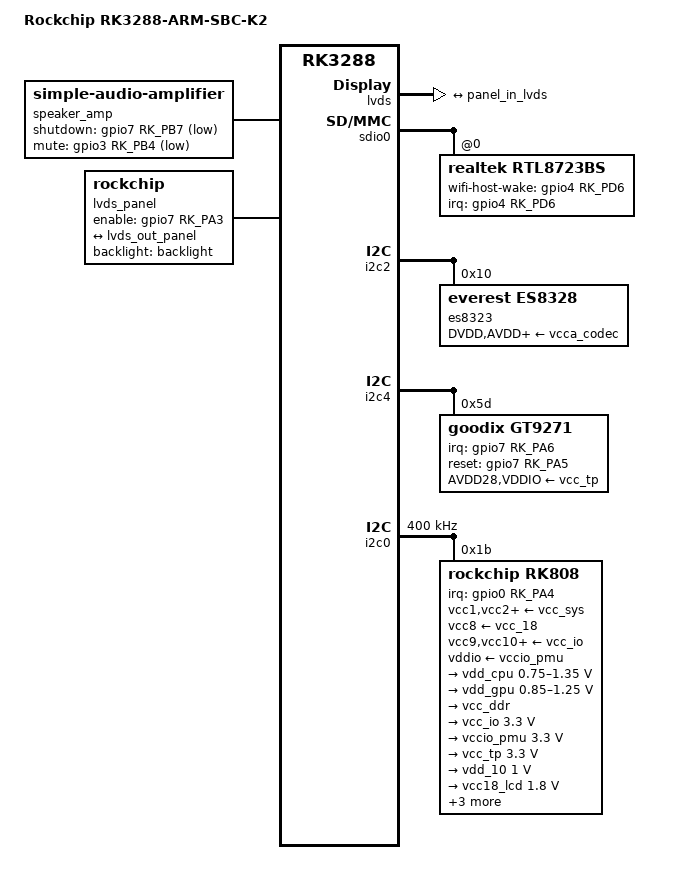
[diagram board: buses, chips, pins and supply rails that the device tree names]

// SPDX-License-Identifier: (GPL-2.0+ OR MIT)

/dts-v1/;
#include "rk3288-k2.dtsi"

/ {
	model = "Rockchip RK3288-ARM-SBC-K2";
	compatible = "rockchip,rk3288-evb-rk808", "rockchip,rk3288";

	sound  {
		compatible = "simple-audio-card";
		simple-audio-card,name = "rockchip,es8323-codec";
		simple-audio-card,format = "i2s";
		simple-audio-card,bitclock-master = <&dailink0_master>;
		simple-audio-card,frame-master = <&dailink0_master>;

		simple-audio-card,widgets =
			"Microphone", "Internal Mic",
			"Speaker", "Internal Speaker";

		simple-audio-card,routing =
			"Internal Speaker", "LOUT1",
			"Internal Speaker", "ROUT1",
			"Internal Mic", "LINPUT1",
			"Internal Mic", "RINPUT1";

		simple-audio-card,cpu {
			sound-dai = <&i2s>;
		};

		dailink0_master: simple-audio-card,codec {
			sound-dai = <&es8323>;
			clocks = <&es8323_clock>;
		};
	};

	speaker_amp: audio-amplifier {
                status = "okay";
                compatible = "simple-audio-amplifier";
                shutdown-gpios = <&gpio7 RK_PB7 GPIO_ACTIVE_LOW>;
                mute-gpios = <&gpio3 RK_PB4 GPIO_ACTIVE_LOW>;
                sound-name-prefix = "Speaker Amp";
        	};

	lvds_panel: lvds-panel {
		compatible ="rockchip","panel-lvds";
		backlight = <&backlight>;
		enable-gpios = <&gpio7 RK_PA3 GPIO_ACTIVE_HIGH>;
		pinctrl-0 = <&lcd_cs>;
		width-mm = <229>;
		height-mm = <149>;
		output = "lvds";
		data-mapping = "jeida-18";

			panel-timing {
                clock-frequency = <69000000>;
				hactive = <1280>;
				vactive = <800>;
				hsync-len = <11>;
				hfront-porch = <117>;
				hback-porch = <40>;
				vfront-porch = <9>;
				vback-porch = <6>;
				vsync-len = <1>;
                };

		ports {
			lvds_panel_in: port {
				panel_in_lvds: endpoint {
					remote-endpoint = <&lvds_out_panel>;
				};
			};
		};
	};
};

&lvds {
	status = "okay";

	ports {
		lvds_out: port@1 {
			reg = <1>;
			#address-cells = <1>;
			#size-cells = <0>;

			lvds_out_panel: endpoint@0 {
				reg = <0>;
				remote-endpoint = <&panel_in_lvds>;
			};
		};
	};
};

&cru {
    es8323_clock: es8323_clock {
        #clock-cells = <0>;
        compatible = "fixed-clock";
        clock-frequency = <11289600>; /* or <22579200> depending on your needs */
    };
};

&sdio0 {
    status = "okay";
    #address-cells = <1>;
    #size-cells = <0>;

    wifi_pwr_seq: wifi-pwrseq {
        compatible = "mmc-pwrseq-simple";
        reset-gpios = <&gpio4 RK_PD4 GPIO_ACTIVE_HIGH>;
    };

    rtl8723bs: rtl8723bs@0 {
        compatible = "realtek,rtl8723bs";
        reg = <0>; /* Adjusted to match parent's #address-cells and #size-cells */
        pinctrl-names = "default";
        pinctrl-0 = <&wifi_pwr_seq>;
        interrupt-parent = <&gpio4>;
        interrupts = <RK_PD6 GPIO_ACTIVE_HIGH>;
        wifi-host-wake-gpios = <&gpio4 RK_PD6 GPIO_ACTIVE_HIGH>;
        bluetooth {
            compatible = "realtek,rtl8723bs-bt";
            bt-wake-gpios = <&gpio4 RK_PD2 GPIO_ACTIVE_HIGH>;
            bt-host-wake-gpios = <&gpio4 RK_PD7 GPIO_ACTIVE_HIGH>;
            bt-rst-gpios = <&gpio4 RK_PD5 GPIO_ACTIVE_HIGH>;
        };
    };
};

&i2c2 {
	status = "okay";
	es8323: es8323@10 {
		compatible = "everest,es8328", "everest,es8323";
		#sound-dai-cells = <0>;
		DVDD-supply = <&vcca_codec>;
		AVDD-supply = <&vcca_codec>;
		PVDD-supply = <&vcca_codec>;
		HPVDD-supply = <&vcca_codec>;
		clocks = <&cru SCLK_I2S0_OUT>;
		reg = <0x10>;
        };
};


&i2c4 {
    status = "okay";
    /* use 0x1b for FT5506/CT363 and 0x40 for GSL3680, any other touch panel use i2cdtect to see the address */ 	
    gt9271@5d {
        compatible = "goodix,gt9271";
        reg = <0x5d>; /* I2C address of the touchscreen */
        interrupt-parent = <&gpio7>;
		AVDD28-supply = <&vcc_tp>;
		VDDIO-supply = <&vcc_tp>;
        interrupts = <RK_PA6 IRQ_TYPE_EDGE_FALLING>; /* INT pin */
        irq-gpios = <&gpio7 RK_PA6 GPIO_ACTIVE_HIGH>;
        reset-gpios = <&gpio7 RK_PA5 GPIO_ACTIVE_HIGH>; /* Reset pin */
        touchscreen-size-x = <1280>; /* X resolution, adjust as needed */
        touchscreen-size-y = <800>; /* Y resolution, adjust as needed */
        pinctrl-names = "default";

    };
};

&i2c0 {
	clock-frequency = <400000>;

	rk808: pmic@1b {
		compatible = "rockchip,rk808";
		reg = <0x1b>;
		interrupt-parent = <&gpio0>;
		interrupts = <RK_PA4 IRQ_TYPE_LEVEL_LOW>;
		pinctrl-names = "default";
		pinctrl-0 = <&pmic_int &global_pwroff>;
		rockchip,system-power-controller;
		wakeup-source;
		#clock-cells = <1>;
		clock-output-names = "xin32k", "rk808-clkout2";

		vcc1-supply = <&vcc_sys>;
		vcc2-supply = <&vcc_sys>;
		vcc3-supply = <&vcc_sys>;
		vcc4-supply = <&vcc_sys>;
		vcc6-supply = <&vcc_sys>;
		vcc7-supply = <&vcc_sys>;
		vcc8-supply = <&vcc_18>;
		vcc9-supply = <&vcc_io>;
		vcc10-supply = <&vcc_io>;
		vcc11-supply = <&vcc_sys>;
		vcc12-supply = <&vcc_io>;
		vddio-supply = <&vccio_pmu>;

		regulators {
			vdd_cpu: DCDC_REG1 {
				regulator-always-on;
				regulator-boot-on;
				regulator-min-microvolt = <750000>;
				regulator-max-microvolt = <1350000>;
				regulator-name = "vdd_arm";
				regulator-state-mem {
					regulator-off-in-suspend;
				};
			};

			vdd_gpu: DCDC_REG2 {
				regulator-always-on;
				regulator-boot-on;
				regulator-min-microvolt = <850000>;
				regulator-max-microvolt = <1250000>;
				regulator-name = "vdd_gpu";
				regulator-state-mem {
					regulator-on-in-suspend;
					regulator-suspend-microvolt = <1000000>;
				};
			};

			vcc_ddr: DCDC_REG3 {
				regulator-always-on;
				regulator-boot-on;
				regulator-name = "vcc_ddr";
				regulator-state-mem {
					regulator-on-in-suspend;
				};
			};

			vcc_io: DCDC_REG4 {
				regulator-always-on;
				regulator-boot-on;
				regulator-min-microvolt = <3300000>;
				regulator-max-microvolt = <3300000>;
				regulator-name = "vcc_io";
				regulator-state-mem {
					regulator-on-in-suspend;
					regulator-suspend-microvolt = <3300000>;
				};
			};

			vccio_pmu: LDO_REG1 {
				regulator-always-on;
				regulator-boot-on;
				regulator-min-microvolt = <3300000>;
				regulator-max-microvolt = <3300000>;
				regulator-name = "vccio_pmu";
				regulator-state-mem {
					regulator-on-in-suspend;
					regulator-suspend-microvolt = <3300000>;
				};
			};

			vcc_tp: LDO_REG2 {
				regulator-always-on;
				regulator-boot-on;
				regulator-min-microvolt = <3300000>;
				regulator-max-microvolt = <3300000>;
				regulator-name = "vcc_tp";
				regulator-state-mem {
					regulator-off-in-suspend;
				};
			};

			vdd_10: LDO_REG3 {
				regulator-always-on;
				regulator-boot-on;
				regulator-min-microvolt = <1000000>;
				regulator-max-microvolt = <1000000>;
				regulator-name = "vdd_10";
				regulator-state-mem {
					regulator-on-in-suspend;
					regulator-suspend-microvolt = <1000000>;
				};
			};

			vcc18_lcd: LDO_REG4 {
				regulator-always-on;
				regulator-boot-on;
				regulator-min-microvolt = <1800000>;
				regulator-max-microvolt = <1800000>;
				regulator-name = "vcc18_lcd";
				regulator-state-mem {
					regulator-on-in-suspend;
					regulator-suspend-microvolt = <1800000>;
				};
			};

			vccio_sd: LDO_REG5 {
				regulator-always-on;
				regulator-boot-on;
				regulator-min-microvolt = <1800000>;
				regulator-max-microvolt = <3300000>;
				regulator-name = "vccio_sd";
				regulator-state-mem {
					regulator-on-in-suspend;
					regulator-suspend-microvolt = <3300000>;
				};
			};

			vdd10_lcd: LDO_REG6 {
				regulator-always-on;
				regulator-boot-on;
				regulator-min-microvolt = <1000000>;
				regulator-max-microvolt = <1000000>;
				regulator-name = "vdd10_lcd";
				regulator-state-mem {
					regulator-on-in-suspend;
					regulator-suspend-microvolt = <1000000>;
				};
			};

			vcc_18: LDO_REG7 {
				regulator-always-on;
				regulator-boot-on;
				regulator-min-microvolt = <1800000>;
				regulator-max-microvolt = <1800000>;
				regulator-name = "vcc_18";
				regulator-state-mem {
					regulator-on-in-suspend;
					regulator-suspend-microvolt = <1800000>;
				};
			};

			vcca_codec: LDO_REG8 {
				regulator-always-on;
				regulator-boot-on;
				regulator-min-microvolt = <3300000>;
				regulator-max-microvolt = <3300000>;
				regulator-name = "vcca_codec";
				regulator-state-mem {
					regulator-on-in-suspend;
					regulator-suspend-microvolt = <3300000>;
				};
			};

			vcc_wl: SWITCH_REG1 {
				regulator-always-on;
				regulator-boot-on;
				regulator-name = "vcc_wl";
				regulator-state-mem {
					regulator-on-in-suspend;
				};
			};

			vcc_lcd: SWITCH_REG2 {
				regulator-always-on;
				regulator-boot-on;
				regulator-name = "vcc_lcd";
				regulator-state-mem {
					regulator-on-in-suspend;
				};
			};
		};
	};
};



